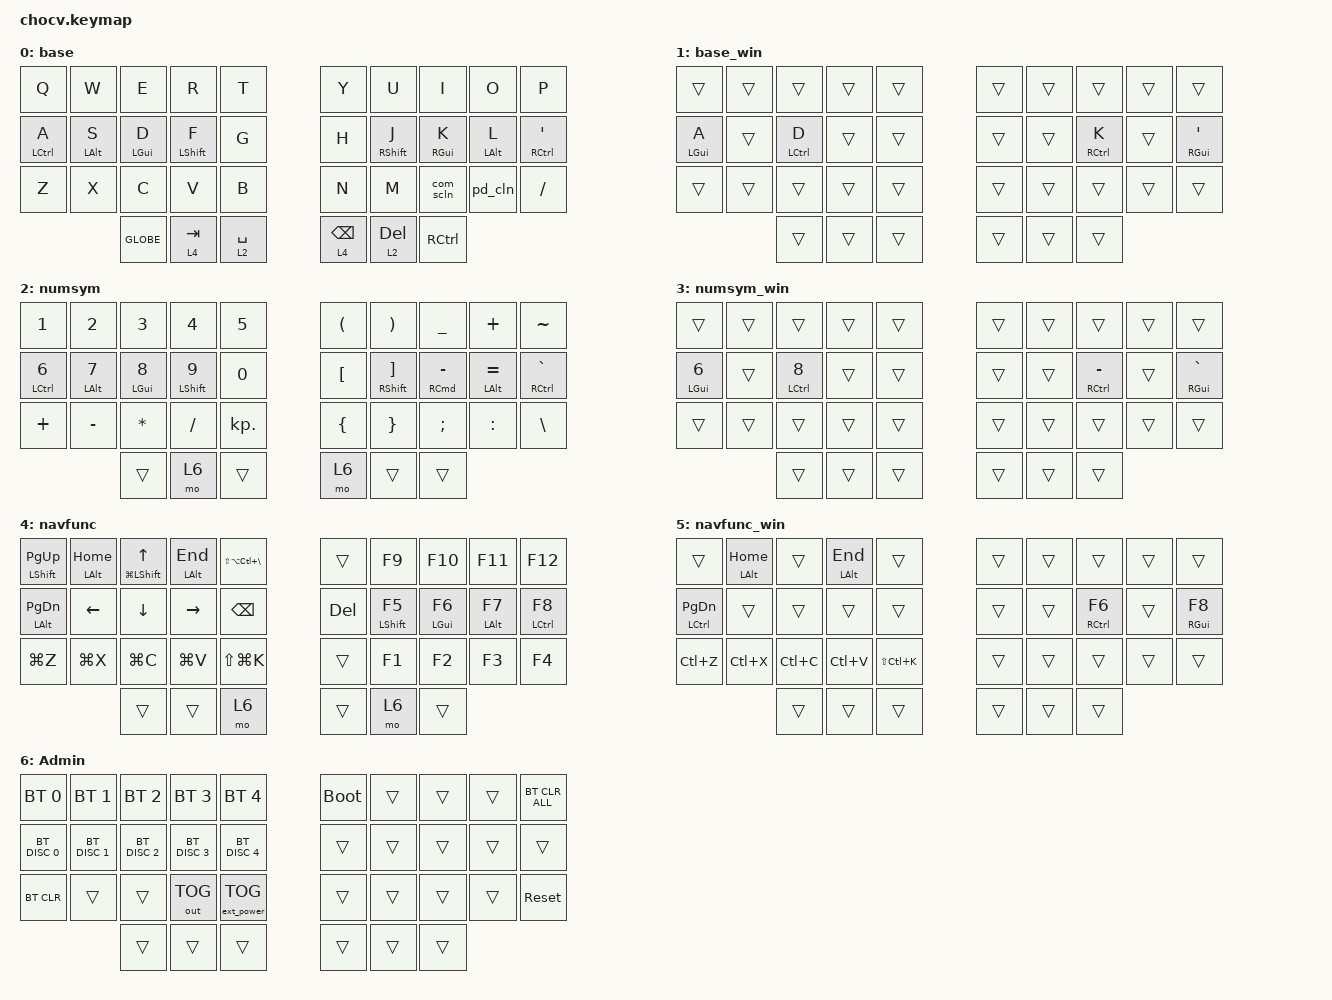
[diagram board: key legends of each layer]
/*
 * Copyright (c) 2020 The ZMK Contributors
 *
 * SPDX-License-Identifier: MIT
 */

#include <behaviors.dtsi>
#include <dt-bindings/zmk/bt.h>
#include <dt-bindings/zmk/ext_power.h>
#include <dt-bindings/zmk/keys.h>
#include <dt-bindings/zmk/outputs.h>

&soft_off { hold-time-ms = <0>; };

&lt {
    quick-tap-ms = <200>;
    tapping-term-ms = <250>;
};

/ {
    combos {
        compatible = "zmk,combos";

        left_enter {
            bindings = <&kp ENTER>;
            key-positions = <1 12 23>;
        };

        right_enter {
            bindings = <&kp ENTER>;
            key-positions = <8 17 26>;
        };

        esc {
            bindings = <&kp ESCAPE>;
            key-positions = <0 1>;
        };

        tab {
            bindings = <&kp TAB>;
            key-positions = <3 14>;
        };

        shift_tab {
            bindings = <&kp LS(TAB)>;
            key-positions = <2 13>;
        };

        hold_space {
            bindings = <&kp SPACE>;
            key-positions = <23 32>;
        };

        caps_word {
            bindings = <&caps_word>;
            key-positions = <14 15>;
        };

        toggle_nav {
            bindings = <&tog 2>;
            key-positions = <11 2 13>;
            layers = <0 2>;
            require-prior-idle-ms = <350>;
        };

        jsdoc {
            bindings = <&jsdoc>;
            key-positions = <29 28>;
        };

        caps_lock {
            bindings = <&kp CAPSLOCK>;
            key-positions = <13 12 16 17>;
        };

        screen_shot {
            bindings = <&kp LS(LG(N5))>;
            key-positions = <0 11>;
        };

        soft_off {
            bindings = <&soft_off>;
            key-positions = <0 32 9 33>;
        };

        bootloader {
            bindings = <&bootloader>;
            key-positions = <4 14 5 15>;
        };

        bt_clear_all {
            bindings = <&bt BT_CLR_ALL>;
            key-positions = <20 21 29 28 22 27>;
        };

        reset {
            bindings = <&sys_reset>;
            key-positions = <30 31 32 33 34 35>;
        };

        globe {
            bindings = <&kp GLOBE>;
            key-positions = <4 5>;
        };

        toggle_win {
            bindings = <&tog 1>;
            key-positions = <0 9>;
        };

        screenshot_win {
            bindings = <&kp LS(LG(S))>;
            key-positions = <0 11>;
            layers = <1>;
        };

        force_quit_mac {
            bindings = <&kp LA(LG(ESCAPE))>;
            key-positions = <0 1 2>;
        };
    };

    behaviors {
        hml: HOMEROW_L_MODS {
            compatible = "zmk,behavior-hold-tap";
            label = "HOMEROW_L_MODS";
            bindings = <&kp>, <&kp>;

            #binding-cells = <2>;
            tapping-term-ms = <190>;
            quick-tap-ms = <190>;
            flavor = "balanced";
            require-prior-idle-ms = <100>;
            hold-trigger-key-positions = <5 6 7 8 9 15 16 17 18 19 25 26 27 28 33 34 29 35 10 11 12 13>;
        };

        hsl: HOMEROW_L_SHIFT {
            compatible = "zmk,behavior-hold-tap";
            label = "HOMEROW_L_SHIFT";
            bindings = <&kp>, <&kp>;

            #binding-cells = <2>;
            tapping-term-ms = <190>;
            quick-tap-ms = <190>;
            flavor = "balanced";
            require-prior-idle-ms = <0>;
            hold-trigger-key-positions = <5 15 25 6 16 26 7 8 9 9 17 18 19 27 28 34 33 29 35 13 12 11 10>;
        };

        com_scln: comma_semicolon {
            compatible = "zmk,behavior-mod-morph";
            label = "COMMA_SEMICOLON";
            bindings = <&kp COMMA>, <&kp SEMICOLON>;

            #binding-cells = <0>;
            mods = <(MOD_LSFT|MOD_RSFT)>;
        };

        pd_cln: period_colon {
            compatible = "zmk,behavior-mod-morph";
            label = "PERIOD_COLON";
            bindings = <&kp PERIOD>, <&kp COLON>;

            #binding-cells = <0>;
            mods = <(MOD_LSFT|MOD_RSFT)>;
        };

        hmr: HOMEROW_R_MODS {
            compatible = "zmk,behavior-hold-tap";
            label = "HOMEROW_R_MODS";
            bindings = <&kp>, <&kp>;

            #binding-cells = <2>;
            tapping-term-ms = <190>;
            quick-tap-ms = <190>;
            flavor = "balanced";
            require-prior-idle-ms = <100>;
            hold-trigger-key-positions = <0 1 2 3 4 10 11 12 13 14 20 21 22 23 24 32 31 30 16 17 18 19>;
        };

        hsr: HOMEROW_R_SHIFT {
            compatible = "zmk,behavior-hold-tap";
            label = "HOMEROW_R_SHIFT";
            bindings = <&kp>, <&kp>;

            #binding-cells = <2>;
            tapping-term-ms = <190>;
            quick-tap-ms = <190>;
            flavor = "balanced";
            require-prior-idle-ms = <0>;
            hold-trigger-key-positions = <0 1 2 3 4 10 11 12 13 14 20 21 22 23 24 31 32 30 16 17 18 19>;
        };
    };

    macros {
        jsdoc: jsdoc {
            compatible = "zmk,behavior-macro";
            #binding-cells = <0>;
            bindings = <&kp FSLH &kp STAR &kp STAR &kp SPACE>;
            label = "JSDOC";
        };
    };

    keymap {
        compatible = "zmk,keymap";

        base {
            bindings = <
  &kp Q         &kp W        &kp E            &kp R         &kp T          &kp Y            &kp U         &kp I             &kp O        &kp P
  &hml LCTRL A  &hml LALT S  &hml LEFT_GUI D  &hsl LSHFT F  &kp G          &kp H            &hsr RSHFT J  &hmr RIGHT_GUI K  &hmr LALT L  &hmr RCTRL SINGLE_QUOTE
  &kp Z         &kp X        &kp C            &kp V         &kp B          &kp N            &kp M         &com_scln         &pd_cln      &kp FSLH
                             &kp GLOBE        &lt 4 TAB     &lt 2 SPACE    &lt 4 BACKSPACE  &lt 2 DELETE  &kp RCTRL
            >;
        };

        base_win {
            bindings = <
  &trans       &trans  &trans        &trans  &trans    &trans  &trans  &trans        &trans  &trans
  &hml LGUI A  &trans  &hml LCTRL D  &trans  &trans    &trans  &trans  &hmr RCTRL K  &trans  &hmr RGUI SQT
  &trans       &trans  &trans        &trans  &trans    &trans  &trans  &trans        &trans  &trans
                       &trans        &trans  &trans    &trans  &trans  &trans
            >;
        };

        numsym {
            // -----------------------------------------------------------------------------------------
            // |  1  |  2  |  3  |  4  |  5  |  6  |  7  |  8  |  9  |  0  |
            // |  !  |  @  |  #  |  $  |  %  |  ^  |  &  |  *  |  =  |  -  |
            // |  \  |  {  |  [  |  (  |  _  |  )  |  ]  |  }  |  .  |  `  |
            //             | CTL | ALT |  ENT | SPC | GUI  | CTL |

            bindings = <
  &kp N1               &kp N2            &kp N3            &kp N4              &kp N5        &kp LEFT_PARENTHESIS  &kp RIGHT_PARENTHESIS     &kp UNDER        &kp PLUS             &kp TILDE
  &hml LCTRL NUMBER_6  &hml LEFT_ALT N7  &hml LEFT_GUI N8  &hsl LEFT_SHIFT N9  &kp N0        &kp LEFT_BRACKET      &hsr RSHFT RIGHT_BRACKET  &hmr RCMD MINUS  &hmr LEFT_ALT EQUAL  &hmr RCTRL GRAVE
  &kp PLUS             &kp MINUS         &kp ASTERISK      &kp SLASH           &kp KP_DOT    &kp LEFT_BRACE        &kp RIGHT_BRACE           &kp SEMICOLON    &kp COLON            &kp BACKSLASH
                                         &trans            &mo 6               &trans        &mo 6                 &trans                    &trans
            >;
        };

        numsym_win {
            bindings = <
  &trans              &trans  &trans         &trans  &trans    &trans  &trans  &trans            &trans  &trans
  &hml LGUI NUMBER_6  &trans  &hml LCTRL N8  &trans  &trans    &trans  &trans  &hmr RCTRL MINUS  &trans  &hmr RGUI GRAVE
  &trans              &trans  &trans         &trans  &trans    &trans  &trans  &trans            &trans  &trans
                              &trans         &trans  &trans    &trans  &trans  &trans
            >;
        };

        navfunc {
            // -----------------------------------------------------------------------------------------
            // |BTCLR| RST |     |      |     |      | PGDN |  UP  | PGUP |      |
            // | BT0 |CMENU|     |      |     | HOME | LEFT | DOWN |RIGHT | END  |
            // | BT1 | BOOT|     |      |     |      |      |      |      |      |
            //             | CTL | ALT |  ENT | SPC | GUI  | CTL |

            bindings = <
  &mt LEFT_SHIFT PG_UP  &mt LEFT_ALT HOME  &mt LG(LEFT_SHIFT) UP_ARROW  &mt LEFT_ALT END  &kp LS(LA(LC(BACKSLASH)))    &trans      &kp F9         &kp F10           &kp F11           &kp F12
  &mt LALT PAGE_DOWN    &kp LEFT_ARROW     &kp DOWN                     &kp RIGHT         &kp BACKSPACE                &kp DELETE  &hsr LSHFT F5  &hmr LEFT_GUI F6  &hmr LEFT_ALT F7  &hmr LCTRL F8
  &kp LG(Z)             &kp LG(X)          &kp LG(C)                    &kp LG(V)         &kp LS(LG(K))                &trans      &kp F1         &kp F2            &kp F3            &kp F4
                                           &trans                       &trans            &mo 6                        &trans      &mo 6          &trans
            >;
        };

        navfunc_win {
            bindings = <
  &trans                &mt LALT HOME  &trans     &mt LALT END  &trans           &trans  &trans  &trans         &trans  &trans
  &hml LCTRL PAGE_DOWN  &trans         &trans     &trans        &trans           &trans  &trans  &hmr RCTRL F6  &trans  &hmr RGUI F8
  &kp LC(Z)             &kp LC(X)      &kp LC(C)  &kp LC(V)     &kp LS(LC(K))    &trans  &trans  &trans         &trans  &trans
                                       &trans     &trans        &trans           &trans  &trans  &trans
            >;
        };

        Admin {
            bindings = <
  &bt BT_SEL 0   &bt BT_SEL 1   &bt BT_SEL 2   &bt BT_SEL 3   &bt BT_SEL 4         &bootloader  &trans  &trans  &trans  &bt BT_CLR_ALL
  &bt BT_DISC 0  &bt BT_DISC 1  &bt BT_DISC 2  &bt BT_DISC 3  &bt BT_DISC 4        &trans       &trans  &trans  &trans  &trans
  &bt BT_CLR     &trans         &trans         &out OUT_TOG   &ext_power EP_TOG    &trans       &trans  &trans  &trans  &sys_reset
                                &trans         &trans         &trans               &trans       &trans  &trans
            >;
        };
    };

    conditional_layers {
        compatible = "zmk,conditional-layers";

        num_sym_win {
            if-layers = <1 2>;
            then-layer = <3>;
        };

        nav_func_win {
            if-layers = <1 4>;
            then-layer = <5>;
        };
    };
};
